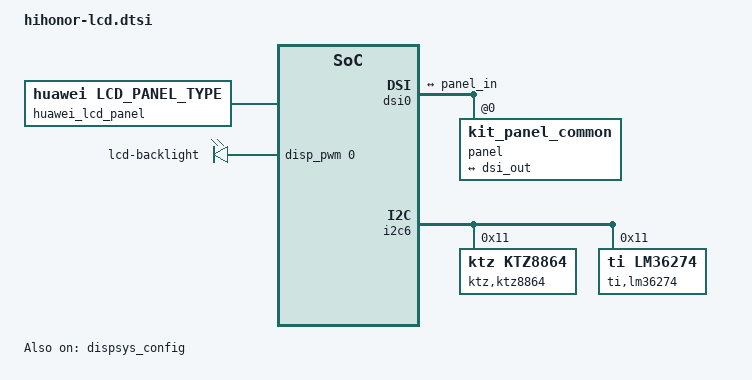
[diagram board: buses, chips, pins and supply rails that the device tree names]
#include "mediatek/lcdkit3.0/tfy/devkit_lcd_kit.dtsi"

&huawei_lcd_panel {
		compatible = "huawei,lcd_panel_type";
		product_id = <3000>;
		detect_type = <2>; /*0:DETECT_GPIOID  1:DETECT_CHIPID  2:DETECT_LCD_TYPE */
		gpio_id = <72 74>; /*ID0 ID1*/
		support_lcd_type = "LCD_KIT";
};

&reserved_memory {
};


/* chosen */
&chosen {
	atag,videolfb-fb_base_l = <0x7e605000>;
	atag,videolfb-fb_base_h = <0x0>;
	atag,videolfb-islcmfound = <1>;
	atag,videolfb-islcm_inited = <0>;
	atag,videolfb-fps= <6000>;
	atag,videolfb-vramSize= <0x1be0000>;
	atag,videolfb-lcmname=
		"nt35595_fhd_dsi_cmd_truly_nt50358_drv";
};

&pio {
	mtkfb_pins_lcm_dsi_te: lcm_dsi_te {
		pins_cmd_dat {
			pinmux = <PINMUX_GPIO84__FUNC_DSI_TE>;
		};
	};
};

&dispsys_config {
	pinctrl-names =
		"mode_te_te";
	pinctrl-0 = <&mtkfb_pins_lcm_dsi_te>;
	status = "okay";
};

&mipi_tx_config0 {
    compatible = "mediatek,mipi_tx_config0",
            "mediatek,mt6833-mipi-tx-cphy";
    reg = <0 0x11e50000 0 0x1000>;
    clocks = <&clk26m>;
    #clock-cells = <0>;
    #phy-cells = <0>;
    clock-output-names = "mipi_tx0_pll";
};

&dsi0 {
	status = "okay";
	#address-cells = <1>;
	#size-cells = <0>;
	panel@0 {
		compatible = "kit_panel_common";
		reg = <0>;
		port {
			panel_in: endpoint {
				remote-endpoint = <&dsi_out>;
			};
		};
	};
	ports {
		port {
			dsi_out: endpoint {
				remote-endpoint = <&panel_in>;
			};
		};
	};
};

&pwmleds {
	compatible = "mediatek,pwm-leds";

	backlight {
		label = "lcd-backlight";
		pwms = <&disp_pwm 0 39385>;
		led-bits = <13>;
		trans-bits = <11>;
		pwm-names = "lcd-backlight";
		default-state = "on";
	};
};

&i2c6{
	ktz,ktz8864@11{
		compatible = "ktz,ktz8864";
		ktz8864_support = <1>;
		reg = <0x11>;
		ktz8864_i2c_bus_id = <6>;
		ktz8864_only_backlight = <0>;
		ktz8864_hw_enable = <1>;
		ktz8864_hw_en_gpio = <136>;
		ktz8864_hw_en_pull_low = <1>;
		bl_on_lk_mdelay = <5>;
		bl_on_kernel_mdelay = <5>;
		bl_level = <1914>;
		ktz8864_10000_bl = <1>;
		ktz8864_bl_config_1 = <0x30>;
		ktz8864_bl_config_2 = <0xCD>;
		ktz8864_bl_brightness_lsb = <0x00>;
		ktz8864_bl_brightness_msb = <0x00>;
		ktz8864_auto_freq_low = <0x00>;
		ktz8864_auto_freq_high = <0x00>;
		ktz8864_bl_en = <0x1f>;
		ktz8864_display_bias_config_1 = <0x99>;
		ktz8864_display_bias_config_2 = <0x91>;
		ktz8864_display_bias_config_3 = <0x00>;
		ktz8864_lcm_boost_bias = <0x24>;
		ktz8864_vpos_bias = <0x1E>;
		ktz8864_vneg_bias = <0x1E>;
		ktz8864_bl_option_1 = <0x06>;
		ktz8864_bl_option_2 = <0x76>;
		ktz8864_bl_max_level = <2047>;
		ktz8864_hidden_reg_support = <0>;
		ktz8864_pull_boost_support = <1>;
		ktz8864_check_fault_support = <1>;
		ktz8864_pull_down_boost = <0x14>;
		ktz8864_enable_vsp_vsn = <0x99>;
		ktz8864_pull_up_boost = <0x24>;
	};
	ti,lm36274@11{
		compatible = "ti,lm36274";
		lm36274_support = <1>;
		reg = <0x11>;
		lm36274_i2c_bus_id = <6>;
		lm36274_only_backlight = <0>;
		lm36274_hw_enable = <1>;
		lm36274_hw_en_gpio = <136>;
		lm36274_hw_en_pull_low = <1>;
		bl_on_lk_mdelay = <5>;
		bl_on_kernel_mdelay = <5>;
		bl_level = <1914>;
		lm36274_10000_bl = <1>;
		lm36274_bl_config_1 = <0x30>;
		lm36274_bl_config_2 = <0x85>;
		lm36274_bl_brightness_lsb = <0x00>;
		lm36274_bl_brightness_msb = <0x00>;
		lm36274_auto_freq_low = <0x99>;
		lm36274_auto_freq_high = <0xac>;
		lm36274_bl_en = <0x1f>;
		lm36274_display_bias_config_1 = <0x99>;
		lm36274_display_bias_config_2 = <0x91>;
		lm36274_display_bias_config_3 = <0x00>;
		lm36274_lcm_boost_bias = <0x24>;
		lm36274_vpos_bias = <0x1E>;
		lm36274_vneg_bias = <0x1E>;
		lm36274_bl_option_1 = <0x06>;
		lm36274_bl_option_2 = <0x76>;
		lm36274_bl_max_level = <2047>;
		lm36274_check_fault_support = <1>;
		lm36274_hidden_reg_support = <0>;
		lm36274_pull_boost_support = <1>;
		lm36274_pull_down_boost = <0x14>;
		lm36274_enable_vsp_vsn = <0x99>;
		lm36274_pull_up_boost = <0x24>;
		lm36274_extend_rev_support = <1>;
		lm36274_dimming_support = <1>;
		lm36274_dimming_config = <0xD5>;
		lm36274_dimming_resume = <0x85>;
	};
};
